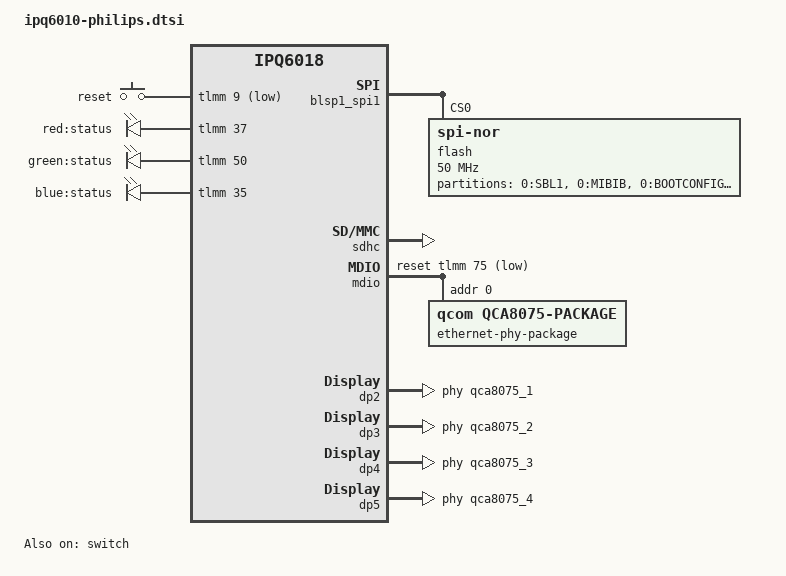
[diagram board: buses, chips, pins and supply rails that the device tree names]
// SPDX-License-Identifier: GPL-2.0-or-later OR MIT

/dts-v1/;

#include "ipq6018.dtsi"
#include "ipq6018-ess.dtsi"
#include "ipq6018-nss.dtsi"
#include "ipq6018-common.dtsi"

#include <dt-bindings/gpio/gpio.h>
#include <dt-bindings/input/input.h>
#include <dt-bindings/leds/common.h>

/ {
	aliases {
		serial0 = &blsp1_uart3;

		led-boot = &led_status_blue;
		led-failsafe = &led_status_red;
		led-running = &led_status_green;
		led-upgrade = &led_status_red;

		ethernet1 = &dp2;
		ethernet2 = &dp3;
		ethernet3 = &dp4;
		ethernet4 = &dp5;
	};

	chosen {
		stdout-path = "serial0:115200n8";
	};

	keys {
		compatible = "gpio-keys";

		reset {
			label = "reset";
			linux,code = <KEY_RESTART>;
			gpios = <&tlmm 9 GPIO_ACTIVE_LOW>;
		};
	};

	leds {
		compatible = "gpio-leds";

		led_status_red: status-red {
			label = "red:status";
			gpios = <&tlmm 37 GPIO_ACTIVE_HIGH>;
		};

		led_status_green: status-green {
			label = "green:status";
			gpios = <&tlmm 50 GPIO_ACTIVE_HIGH>;
		};

		led_status_blue: status-blue {
			label = "blue:status";
			gpios = <&tlmm 35 GPIO_ACTIVE_HIGH>;
		};
	};
};

&blsp1_spi1 {
	status = "okay";

	flash@0 {
		compatible = "jedec,spi-nor";
		spi-max-frequency = <50000000>;
		reg = <0>;

		partitions {
			compatible = "fixed-partitions";
			#address-cells = <1>;
			#size-cells = <1>;

			partition@0 {
				label = "0:SBL1";
				reg = <0x00000000 0x000c0000>;
			};

			partition@c0000 {
				label = "0:MIBIB";
				reg = <0x000c0000 0x00010000>;
			};

			partition@d0000 {
				label = "0:BOOTCONFIG";
				reg = <0x000d0000 0x00020000>;
			};

			partition@f0000 {
				label = "0:BOOTCONFIG1";
				reg = <0x000f0000 0x00020000>;
			};

			partition@110000 {
				label = "0:QSEE";
				reg = <0x00110000 0x001a0000>;
			};

			partition@2b0000 {
				label = "0:QSEE_1";
				reg = <0x002b0000 0x001a0000>;
			};

			partition@450000 {
				label = "0:DEVCFG";
				reg = <0x00450000 0x00010000>;
			};

			partition@460000 {
				label = "0:DEVCFG_1";
				reg = <0x00460000 0x00010000>;
			};

			partition@470000 {
				label = "0:RPM";
				reg = <0x00470000 0x00040000>;
			};

			partition@4b0000 {
				label = "0:RPM_1";
				reg = <0x004b0000 0x00040000>;
			};

			partition@4f0000 {
				label = "0:CDT";
				reg = <0x004f0000 0x00010000>;
			};

			partition@500000 {
				label = "0:CDT_1";
				reg = <0x00500000 0x00010000>;
			};

			partition@510000 {
				label = "0:APPSBLENV";
				reg = <0x00510000 0x00010000>;
			};

			partition@520000 {
				label = "0:APPSBL";
				reg = <0x00520000 0x000a0000>;
			};

			partition@5c0000 {
				label = "0:APPSBL_1";
				reg = <0x005c0000 0x000a0000>;
			};

			partition@660000 {
				label = "0:ART";
				reg = <0x00660000 0x00040000>;
			};
		};
	};
};

&sdhc {
	status = "okay";

	/delete-property/ mmc-hs400-1_8v;
	mmc-hs200-1_8v;
	mmc-ddr-1_8v;
};

&mdio {
	status = "okay";

	pinctrl-0 = <&mdio_pins>;
	pinctrl-names = "default";
	reset-gpios = <&tlmm 75 GPIO_ACTIVE_LOW>;

	ethernet-phy-package@0 {
		compatible = "qcom,qca8075-package";
		#address-cells = <1>;
		#size-cells = <0>;
		reg = <0>;

		qca8075_1: ethernet-phy@1 {
			compatible = "ethernet-phy-ieee802.3-c22";
			reg = <1>;
		};

		qca8075_2: ethernet-phy@2 {
			compatible = "ethernet-phy-ieee802.3-c22";
			reg = <2>;
		};

		qca8075_3: ethernet-phy@3 {
			compatible = "ethernet-phy-ieee802.3-c22";
			reg = <3>;
		};

		qca8075_4: ethernet-phy@4 {
			compatible = "ethernet-phy-ieee802.3-c22";
			reg = <4>;
		};
	};
};

&switch {
	status = "okay";

	switch_lan_bmp = <(ESS_PORT2 | ESS_PORT3 | ESS_PORT4)>;
	switch_wan_bmp = <ESS_PORT5>;
	switch_mac_mode = <MAC_MODE_PSGMII>;

	qcom,port_phyinfo {
		port@2 {
			port_id = <2>;
			phy_address = <1>;
		};

		port@3 {
			port_id = <3>;
			phy_address = <2>;
		};

		port@4 {
			port_id = <4>;
			phy_address = <3>;
		};

		port@5 {
			port_id = <5>;
			phy_address = <4>;
		};
	};
};

&dp2 {
	status = "okay";
	phy-handle = <&qca8075_1>;
	label = "lan1";
};

&dp3 {
	status = "okay";
	phy-handle = <&qca8075_2>;
	label = "lan2";
};

&dp4 {
	status = "okay";
	phy-handle = <&qca8075_3>;
	label = "lan3";
};

&dp5 {
	status = "okay";
	phy-handle = <&qca8075_4>;
	label = "wan";
};

&edma {
	status = "okay";
};
